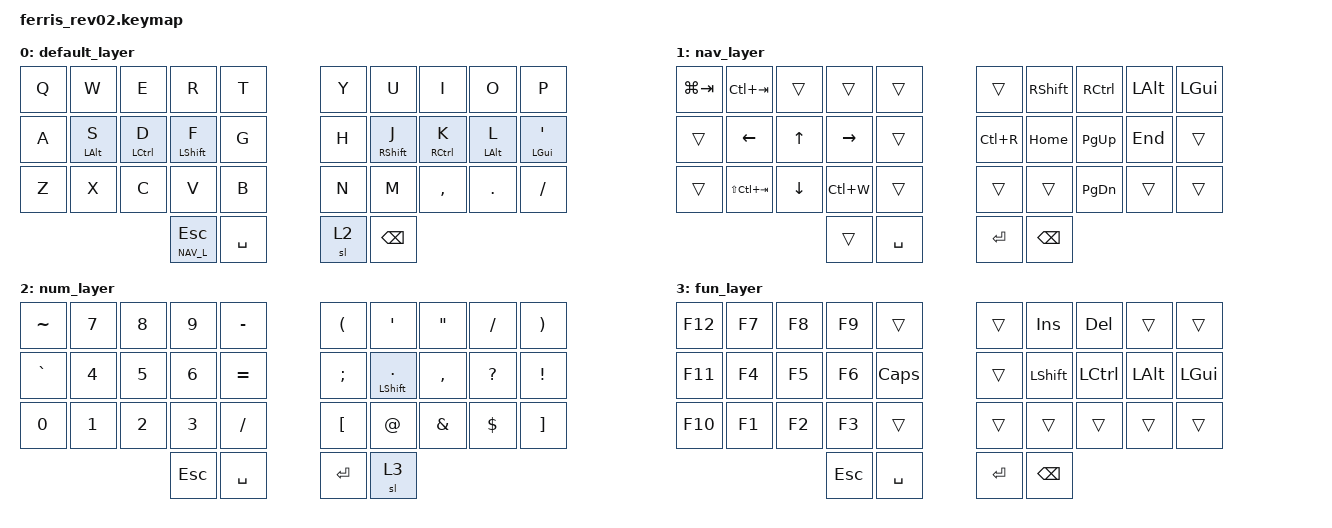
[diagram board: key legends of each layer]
/*
 * Copyright (c) 2020 The ZMK Contributors
 *
 * SPDX-License-Identifier: MIT
 */

#include <behaviors.dtsi>
#include <dt-bindings/zmk/keys.h>
#include <dt-bindings/zmk/bt.h>

#define DEFAULT 0
#define NAV_L 1
#define NUM_L 2
#define FUN_L 3

// Using layer taps on thumbs, having quick tap as well helps w/ repeating space/backspace
&lt { quick_tap_ms = <200>; };

/ {
    behaviors {
        hm: homerow_mods {
            compatible = "zmk,behavior-hold-tap";
            label = "homerow mods";
            #binding-cells = <2>;
            tapping_term_ms = <200>;
            flavor = "tap-preferred";
            bindings = <&kp>, <&kp>;
        };
    };

    keymap {
        compatible = "zmk,keymap";

        default_layer {
            bindings = <
                &kp Q      &kp W      &kp E       &kp R          &kp T         &kp Y            &kp U          &kp I       &kp O      &kp P
                &kp A      &hm LALT S &hm LCTRL D &hm LSHFT F    &kp G         &kp H            &hm RSHFT J    &hm RCTRL K &hm LALT L &hm LGUI QUOT
                &kp Z      &kp X      &kp C       &kp V          &kp B         &kp N            &kp M          &kp COMMA   &kp DOT    &kp FSLH
                                                  &lt NAV_L ESC  &kp SPACE     &sl 2            &kp BKSP
            >;
        };

        nav_layer {
            bindings = <
                &kp LG(TAB)  &kp LC(TAB)      &trans      &trans          &trans       &trans           &kp RSHFT      &kp RCTRL   &kp LALT   &kp LGUI
                &trans       &kp LEFT         &kp UP      &kp RIGHT       &trans       &kp LC(R)        &kp HOME       &kp PG_UP   &kp END    &trans
                &trans       &kp LS(LC(TAB))  &kp DOWN    &kp LC(W)       &trans       &trans           &trans         &kp PG_DN   &trans     &trans
                                                          &trans          &kp SPACE    &kp ENTER        &kp BKSP
            >;
        };

        num_layer {
            bindings = <
                &kp TILDE   &kp N7     &kp N8      &kp N9          &kp MINUS     &kp LPAR     &kp SQT       &kp DQT   &kp SLASH   &kp RPAR
                &kp GRAVE   &kp N4     &kp N5      &kp N6          &kp EQUAL     &kp SEMI     &hm LSHFT DOT &kp COMMA &kp QMARK   &kp EXCL
                &kp N0      &kp N1     &kp N2      &kp N3          &kp FSLH      &kp LBKT     &kp AT        &kp AMPS  &kp DLLR    &kp RBKT
                                                   &kp ESC         &kp SPACE     &kp ENTER    &sl 3
            >;
        };

        fun_layer {
            bindings = <
                &kp F12     &kp F7  &kp F8  &kp F9   &trans     &trans      &kp INS     &kp DEL     &trans    &trans
                &kp F11     &kp F4  &kp F5  &kp F6   &kp CAPS   &trans      &kp LSHFT   &kp LCTL    &kp LALT  &kp LGUI
                &kp F10     &kp F1  &kp F2  &kp F3   &trans     &trans      &trans      &trans      &trans    &trans
                                                     &kp ESC    &kp SPACE   &kp ENTER   &kp BKSP
            >;
        };
    };
};
